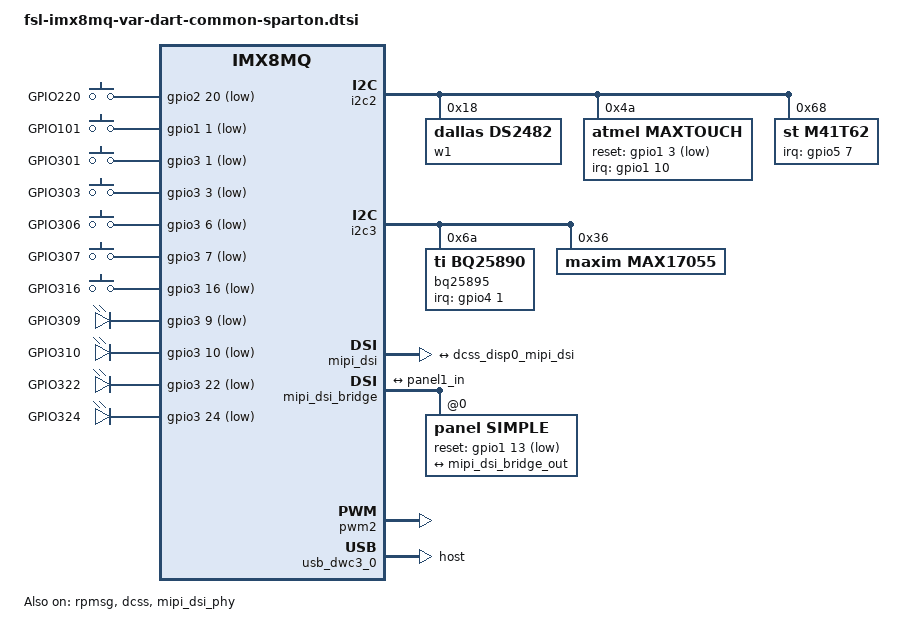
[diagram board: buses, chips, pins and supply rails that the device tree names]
/*
 * Copyright 2019 Sparton
 *
 * This program is free software; you can redistribute it and/or
 * modify it under the terms of the GNU General Public License
 * as published by the Free Software Foundation; either version 2
 * of the License, or (at your option) any later version.
 *
 * This program is distributed in the hope that it will be useful,
 * but WITHOUT ANY WARRANTY; without even the implied warranty of
 * MERCHANTABILITY or FITNESS FOR A PARTICULAR PURPOSE.  See the
 * GNU General Public License for more details.
 */

#include "dt-bindings/display/simple_panel_mipi_cmds.h"

#define DCS_Short_Write_NP(x)      DCS_S0P(x)
#define DCS_Long_Write_3P(x,y,z,a) DCS_L3P(x,y,z,a)
#define DCS_Short_Write_1P(x,y)    DCS_S1P(x,y)

/ {
	compatible = "variscite,imx8m-dart", "fsl,imx8mq";

	/delete-node/ leds;
	/delete-node/ gpio-keys;

	backlight: backlight {
		pwms = <&pwm2 0 1000000 0>;
		status = "okay";
	};

	gpio-keys {
		compatible = "gpio-keys";
		pinctrl-names = "default";
		pinctrl-0 = <&pinctrl_gpio_inputs>;

		GPIO220 {
			gpios = <&gpio2 20 GPIO_ACTIVE_LOW>;
			linux,code = <KEY_WAKEUP>;
		};

		GPIO101 {
			gpios = <&gpio1 1 GPIO_ACTIVE_LOW>;
			linux,code = <KEY_F1>;
		};

		GPIO301 {
			gpios = <&gpio3 1 GPIO_ACTIVE_LOW>;
			linux,code = <KEY_F2>;
		};

		GPIO303 {
			gpios = <&gpio3 3 GPIO_ACTIVE_LOW>;
			linux,code = <KEY_F3>;
		};

		GPIO306 {
			gpios = <&gpio3 6 GPIO_ACTIVE_LOW>;
			linux,code = <KEY_F4>;
		};

		GPIO307 {
			gpios = <&gpio3 7 GPIO_ACTIVE_LOW>;
			linux,code = <KEY_F5>;
		};



		GPIO316 {
			gpios = <&gpio3 16 GPIO_ACTIVE_LOW>;
			linux,code = <KEY_F7>;
		};
	};

	gpio-leds {
		compatible = "gpio-leds";
		pinctrl-names = "default";
		pinctrl-0 = <&pinctrl_gpio_outputs>;


		GPIO309 {
			gpios = <&gpio3 9 GPIO_ACTIVE_LOW>;
		};

		GPIO310 {
			gpios = <&gpio3 10 GPIO_ACTIVE_LOW>;
		};

		GPIO322 {
			gpios = <&gpio3 22 GPIO_ACTIVE_LOW>;
		};

		GPIO324 {
			gpios = <&gpio3 24 GPIO_ACTIVE_LOW>;
		};

	};


	reserved-memory {
		#address-cells = <2>;
		#size-cells = <2>;
		ranges;

//		m4_reserved_tcm: m4@7e0000 {
//			no-map;
//			reg = <0 0x7e0000 0 0x40000>;
//		};

		m4_reserved_data2: m4@0xBF000000 {
			no-map;
			reg = <0 0xBF000000 0 0x1000000>;
		};

	};


	mipi_cmds_nt35521z: mipi-cmds-nt35521z {
/*******************************************************************************
 * the following sequence has been extracted from UM-30165 datasheet
 * and slightly changed to use the defines available in
 * "dt-bindings/display/simple_panel_mipi_cmds.h"
 ******************************************************************************/
#if 1 // jhg
		mipi-cmds-init = /bits/ 8 <
			//========== Page 0 relative ==========
			DCS_Long_Write_3P(0xff,0x98,0x81,0x03)
			DCS_Short_Write_1P(0x01,0x00)
			DCS_Short_Write_1P(0x02,0x00)
			DCS_Short_Write_1P(0x03,0x72)
			DCS_Short_Write_1P(0x04,0x00)
			DCS_Short_Write_1P(0x05,0x00)
			DCS_Short_Write_1P(0x06,0x09)
			DCS_Short_Write_1P(0x07,0x00)
			DCS_Short_Write_1P(0x08,0x00)
			DCS_Short_Write_1P(0x09,0x01)
			DCS_Short_Write_1P(0x0a,0x00)
			DCS_Short_Write_1P(0x0b,0x00)
			DCS_Short_Write_1P(0x0c,0x01)
			DCS_Short_Write_1P(0x0d,0x00)
			DCS_Short_Write_1P(0x0e,0x00)
			DCS_Short_Write_1P(0x0f,0x00)
			DCS_Short_Write_1P(0x10,0x00)
			DCS_Short_Write_1P(0x11,0x00)
			DCS_Short_Write_1P(0x12,0x00)
			DCS_Short_Write_1P(0x13,0x00)
			DCS_Short_Write_1P(0x14,0x00)
			DCS_Short_Write_1P(0x15,0x00)
			DCS_Short_Write_1P(0x16,0x00)
			DCS_Short_Write_1P(0x17,0x00)
			DCS_Short_Write_1P(0x18,0x00)
			DCS_Short_Write_1P(0x19,0x00)
			DCS_Short_Write_1P(0x1a,0x00)
			DCS_Short_Write_1P(0x1b,0x00)
			DCS_Short_Write_1P(0x1c,0x00)
			DCS_Short_Write_1P(0x1d,0x00)
			DCS_Short_Write_1P(0x1e,0x40)
			DCS_Short_Write_1P(0x1f,0x80)
			DCS_Short_Write_1P(0x20,0x05)
			DCS_Short_Write_1P(0x21,0x02)
			DCS_Short_Write_1P(0x22,0x00)
			DCS_Short_Write_1P(0x23,0x00)
			DCS_Short_Write_1P(0x24,0x00)
			DCS_Short_Write_1P(0x25,0x00)

			DCS_Short_Write_1P(0x26,0x00)
			DCS_Short_Write_1P(0x27,0x00)
			DCS_Short_Write_1P(0x28,0x33)
			DCS_Short_Write_1P(0x29,0x02)
			DCS_Short_Write_1P(0x2a,0x00)
			DCS_Short_Write_1P(0x2b,0x00)
			DCS_Short_Write_1P(0x2c,0x00)
			DCS_Short_Write_1P(0x2d,0x00)
			DCS_Short_Write_1P(0x2e,0x00)
			DCS_Short_Write_1P(0x2f,0x00)

			DCS_Short_Write_1P(0x30,0x00)
			DCS_Short_Write_1P(0x31,0x00)
			DCS_Short_Write_1P(0x32,0x00)
			DCS_Short_Write_1P(0x33,0x00)
			DCS_Short_Write_1P(0x34,0x04)
			DCS_Short_Write_1P(0x35,0x00)
			DCS_Short_Write_1P(0x36,0x00)
			DCS_Short_Write_1P(0x37,0x00)
			DCS_Short_Write_1P(0x38,0x3c)
			DCS_Short_Write_1P(0x39,0x00)
			DCS_Short_Write_1P(0x3a,0x40)
			DCS_Short_Write_1P(0x3b,0x40)
			DCS_Short_Write_1P(0x3c,0x00)
			DCS_Short_Write_1P(0x3d,0x00)
			DCS_Short_Write_1P(0x3e,0x00)
			DCS_Short_Write_1P(0x3f,0x00)

			DCS_Short_Write_1P(0x40,0x00)
			DCS_Short_Write_1P(0x41,0x00)
			DCS_Short_Write_1P(0x42,0x00)
			DCS_Short_Write_1P(0x43,0x00)
			DCS_Short_Write_1P(0x44,0x00)

			DCS_Short_Write_1P(0x50,0x01)
			DCS_Short_Write_1P(0x51,0x23)
			DCS_Short_Write_1P(0x52,0x45)
			DCS_Short_Write_1P(0x53,0x67)
			DCS_Short_Write_1P(0x54,0x89)
			DCS_Short_Write_1P(0x55,0xab)
			DCS_Short_Write_1P(0x56,0x01)
			DCS_Short_Write_1P(0x57,0x23)
			DCS_Short_Write_1P(0x58,0x45)
			DCS_Short_Write_1P(0x59,0x67)
			DCS_Short_Write_1P(0x5a,0x89)
			DCS_Short_Write_1P(0x5b,0xab)
			DCS_Short_Write_1P(0x5c,0xcd)
			DCS_Short_Write_1P(0x5d,0xef)
			DCS_Short_Write_1P(0x5e,0x11)
			DCS_Short_Write_1P(0x5f,0x01)

			DCS_Short_Write_1P(0x60,0x00)
			DCS_Short_Write_1P(0x61,0x15)
			DCS_Short_Write_1P(0x62,0x14)
			DCS_Short_Write_1P(0x63,0x0e)
			DCS_Short_Write_1P(0x64,0x0f)
			DCS_Short_Write_1P(0x65,0x0c)
			DCS_Short_Write_1P(0x66,0x0d)
			DCS_Short_Write_1P(0x67,0x06)
			DCS_Short_Write_1P(0x68,0x02)
			DCS_Short_Write_1P(0x69,0x07)
			DCS_Short_Write_1P(0x6a,0x02)
			DCS_Short_Write_1P(0x6b,0x02)
			DCS_Short_Write_1P(0x6c,0x02)
			DCS_Short_Write_1P(0x6d,0x02)
			DCS_Short_Write_1P(0x6e,0x02)
			DCS_Short_Write_1P(0x6f,0x02)

			DCS_Short_Write_1P(0x70,0x02)
			DCS_Short_Write_1P(0x71,0x02)
			DCS_Short_Write_1P(0x72,0x02)
			DCS_Short_Write_1P(0x73,0x02)
			DCS_Short_Write_1P(0x74,0x02)
			DCS_Short_Write_1P(0x75,0x01)
			DCS_Short_Write_1P(0x76,0x00)
			DCS_Short_Write_1P(0x77,0x14)
			DCS_Short_Write_1P(0x78,0x15)
			DCS_Short_Write_1P(0x79,0x0e)
			DCS_Short_Write_1P(0x7a,0x0f)
			DCS_Short_Write_1P(0x7b,0x0c)
			DCS_Short_Write_1P(0x7c,0x0d)
			DCS_Short_Write_1P(0x7d,0x06)
			DCS_Short_Write_1P(0x7e,0x02)
			DCS_Short_Write_1P(0x7f,0x07)
			
			DCS_Short_Write_1P(0x80,0x02)
			DCS_Short_Write_1P(0x81,0x02)
			DCS_Short_Write_1P(0x82,0x02)
			DCS_Short_Write_1P(0x83,0x02)
			DCS_Short_Write_1P(0x84,0x02)

			DCS_Short_Write_1P(0x85,0x02)
			DCS_Short_Write_1P(0x86,0x02)
			DCS_Short_Write_1P(0x87,0x02)
			DCS_Short_Write_1P(0x88,0x02)
			DCS_Short_Write_1P(0x89,0x02)
			DCS_Short_Write_1P(0x8a,0x02)

			DCS_Long_Write_3P(0xff,0x98,0x81,0x04)
			DCS_Short_Write_1P(0x6c,0x15)
			DCS_Short_Write_1P(0x6e,0x2a)
			DCS_Short_Write_1P(0x6f,0x35)

			DCS_Short_Write_1P(0x3a,0x94)
			DCS_Short_Write_1P(0x8d,0x15)
			DCS_Short_Write_1P(0x87,0xba)
			DCS_Short_Write_1P(0x26,0x76)
			DCS_Short_Write_1P(0xb2,0xd1)
			DCS_Short_Write_1P(0xb5,0x06)

			DCS_Long_Write_3P(0xff,0x98,0x81,0x01)
			DCS_Short_Write_1P(0x22,0x0a)
			DCS_Short_Write_1P(0x31,0x00)
			DCS_Short_Write_1P(0x53,0xa5)
			DCS_Short_Write_1P(0x55,0xa5)
			DCS_Short_Write_1P(0x50,0x9a)
			DCS_Short_Write_1P(0x51,0x9a)
			DCS_Short_Write_1P(0x60,0x22)
			DCS_Short_Write_1P(0x61,0x00)
			DCS_Short_Write_1P(0x62,0x19)
			DCS_Short_Write_1P(0x63,0x10)

			DCS_Short_Write_1P(0xa0,0x08)
			DCS_Short_Write_1P(0xa1,0x18)
			DCS_Short_Write_1P(0xa2,0x1f)
			DCS_Short_Write_1P(0xa3,0x0f)
			DCS_Short_Write_1P(0xa4,0x14)
			DCS_Short_Write_1P(0xa5,0x24)
			DCS_Short_Write_1P(0xa6,0x1b)
			DCS_Short_Write_1P(0xa7,0x1b)
			DCS_Short_Write_1P(0xa8,0x5a)
			DCS_Short_Write_1P(0xa9,0x1c)
			DCS_Short_Write_1P(0xaa,0x29)
			DCS_Short_Write_1P(0xab,0x4e)
			DCS_Short_Write_1P(0xac,0x19)
			DCS_Short_Write_1P(0xad,0x16)
			DCS_Short_Write_1P(0xae,0x4c)
			DCS_Short_Write_1P(0xaf,0x21)

			DCS_Short_Write_1P(0xb0,0x2a)
			DCS_Short_Write_1P(0xb1,0x48)
			DCS_Short_Write_1P(0xb2,0x62)
			DCS_Short_Write_1P(0xb3,0x39)
			
			DCS_Short_Write_1P(0xc0,0x08)
			DCS_Short_Write_1P(0xc1,0x0d)
			DCS_Short_Write_1P(0xc2,0x18)
			DCS_Short_Write_1P(0xc3,0x10)
			DCS_Short_Write_1P(0xc4,0x0c)
			DCS_Short_Write_1P(0xc5,0x1d)
			DCS_Short_Write_1P(0xc6,0x10)
			DCS_Short_Write_1P(0xc7,0x16)
			DCS_Short_Write_1P(0xc8,0x61)
			DCS_Short_Write_1P(0xc9,0x1b)
			DCS_Short_Write_1P(0xca,0x27)
			DCS_Short_Write_1P(0xcb,0x5e)
			DCS_Short_Write_1P(0xcc,0x1c)
			DCS_Short_Write_1P(0xcd,0x1b)
			DCS_Short_Write_1P(0xce,0x4e)
			DCS_Short_Write_1P(0xcf,0x22)

			DCS_Short_Write_1P(0xd0,0x27)
			DCS_Short_Write_1P(0xd1,0x52)
			DCS_Short_Write_1P(0xd2,0x61)
			DCS_Short_Write_1P(0xd3,0x39)

			DCS_Long_Write_3P(0xff,0x98,0x81,0x00)
			DCS_Short_Write_1P(0x35,0x00)


		>;
#endif
		mipi-cmds-disable = /bits/ 8 <
			DCS_L5P(0xF0,0x55,0xAA,0x52,0x00,0x00)
			DCS_S1P(0x35,0x00)
		>;
		mipi-cmds-enable = /bits/ 8 <
#undef NT35521Z_SELF_TEST
#ifdef NT35521Z_SELF_TEST
			DCS_L5P(0xF0,0x55,0xAA,0x52,0x08,0x00)
			2 0xEF 0x01
			DCS_L4P(0xEE,0x87,0x78,0x02,0x40)
			// QS Reference:
			// DCS_Long_Write_5P (0xF0,0x55,0xAA,0x52,0x08,0x00);
			// DCS_Short_Write_1P(0xEF,0x01);
			// DCS_Long_Write_4P (0xEE,0x87,0x78,0x02,0x40);
#else /* NT35521Z_SELF_TEST */
			DCS_Short_Write_NP(0x11)
			DELAY (120)
			DCS_Short_Write_NP(0x29)
#endif /* NT35521Z_SELF_TEST */
		>;
	};
};

&ecspi1 {
	status = "disabled"; 	/* MOSI pin conflict with RTC irq */
};

&iomuxc {
	pinctrl-names = "default";

	imx8m-var-dart {
		pinctrl_bq25895: bq25895grp {
			fsl,pins = <
				MX8MQ_IOMUXC_SAI1_RXFS_GPIO4_IO0	0x19	/* charger enable */
				MX8MQ_IOMUXC_SAI1_RXC_GPIO4_IO1		0x19	/* charger interrupt */
			>;
		};

		pinctrl_gpio_inputs: gpioinputsgrp {
			fsl,pins = <
				MX8MQ_IOMUXC_SD2_WP_GPIO2_IO20		0x19	/* GPIO220 */
				MX8MQ_IOMUXC_GPIO1_IO01_GPIO1_IO1	0x19	/* GPIO101 */
				MX8MQ_IOMUXC_NAND_CE0_B_GPIO3_IO1	0x19	/* GPIO301 */
				MX8MQ_IOMUXC_NAND_CE2_B_GPIO3_IO3	0x19	/* GPIO303 */
				MX8MQ_IOMUXC_NAND_DATA00_GPIO3_IO6	0x19	/* GPIO306 */
				MX8MQ_IOMUXC_NAND_DATA01_GPIO3_IO7	0x19	/* GPIO307 */
				MX8MQ_IOMUXC_NAND_DATA02_GPIO3_IO8	0x19	/* GPIO308 */
				MX8MQ_IOMUXC_NAND_READY_B_GPIO3_IO16	0x19	/* GPIO316 */
			>;
		};

		pinctrl_gpio_outputs: gpiooutputsgrp {
			fsl,pins = <
				MX8MQ_IOMUXC_NAND_DATA03_GPIO3_IO9	0x19	/* GPIO309 */
				MX8MQ_IOMUXC_NAND_DATA04_GPIO3_IO10	0x19	/* GPIO310 */
				MX8MQ_IOMUXC_NAND_DQS_GPIO3_IO14	0x19	/* GPIO314 */
				MX8MQ_IOMUXC_NAND_RE_B_GPIO3_IO15	0x19	/* GPIO315 */
				MX8MQ_IOMUXC_SAI5_RXD1_GPIO3_IO22	0x19	/* GPIO322 */
				MX8MQ_IOMUXC_SAI5_RXD3_GPIO3_IO24	0x19	/* GPIO324 */
				MX8MQ_IOMUXC_SAI5_MCLK_GPIO3_IO25	0x19	/* GPIO325 */
				MX8MQ_IOMUXC_UART4_RXD_GPIO5_IO28	0x19	/* USB1_TRIGn */
				MX8MQ_IOMUXC_UART4_TXD_GPIO5_IO29	0x19	/* USB1_PWREN */
			>;
		};

		pinctrl_lcd: lcdgrp {
			fsl,pins = <
				MX8MQ_IOMUXC_GPIO1_IO13_GPIO1_IO13	0x19	/* display reset */
			>;
		};

		pinctrl_ltc3370: ltc3370grp {
			fsl,pins = <
				MX8MQ_IOMUXC_NAND_WE_B_GPIO3_IO17	0x19	/* PMIC_EN3 */
				MX8MQ_IOMUXC_NAND_WP_B_GPIO3_IO18	0x19	/* PMIC_EN2 */
				MX8MQ_IOMUXC_SAI5_RXFS_GPIO3_IO19	0x19	/* PMIC_EN4 */
				MX8MQ_IOMUXC_SAI5_RXC_GPIO3_IO20	0x19	/* PMIC_EN4 */
			>;
		};

		pinctrl_m41t62: m41t62grp {
			fsl,pins = <
				MX8MQ_IOMUXC_ECSPI1_MOSI_GPIO5_IO7	0x19	/* rtc interrupt */
			>;
		};

		pinctrl_maxtouch: maxtouchgrp {
			fsl,pins = <
				MX8MQ_IOMUXC_GPIO1_IO03_GPIO1_IO3	0x19	/* cap touch reset */
				MX8MQ_IOMUXC_GPIO1_IO10_GPIO1_IO10	0x19	/* cap touch interrupt */
			>;
		};

		pinctrl_pwm2: pwm2grp {
			fsl,pins = <
				MX8MQ_IOMUXC_SPDIF_RX_PWM2_OUT		0x06	/* pwm2 output */
			>;
		};
	};
};

&i2c2 {
	/delete-node/ rtc@0x68;		/* address conflict with m41t62 */

      	w1: ds2482@18 {
                compatible = "dallas,ds2482";
                reg = <0x18>;
		status = "okay";
        };

	maxtouch: maxtouch@4a {
		compatible = "atmel,maxtouch";
		pinctrl-names = "default";
		pinctrl-0 = <&pinctrl_maxtouch>;
		interrupt-parent = <&gpio1>;
		interrupts = <10 GPIO_ACTIVE_LOW>;
		reset-gpios = <&gpio1 3 GPIO_ACTIVE_LOW>;
		reg = <0x4a>;
		status = "okay";
	};

// Control with /dev/i2c as the driver doesn't support reg settings 
/*	vcnl4200_2: vcnl4200_2@51 {
		compatible = "vishay,vcnl4200";
		reg = <0x51>;
		status = "okay";
	};
*/
	m41t62: m41t62@68 {
		compatible = "st,m41t62";
		pinctrl-names = "default";
		pinctrl-0 = <&pinctrl_m41t62>;
		interrupt-parent = <&gpio5>;
		interrupts = <7 GPIO_ACTIVE_LOW>;
		reg = <0x68>;
		status = "okay";
	};
};

&i2c3 {
// Control with /dev/i2c as the driver doesn't support reg settings 
/*	vcnl4200_3: vcnl4200_3@51 {
		compatible = "vishay,vcnl4200";
		reg = <0x51>;
		status = "okay";
	};
*/
	bq25895: bq25895@6a {
		compatible = "ti,bq25890";
		pinctrl-names = "default";
		pinctrl-0 = <&pinctrl_bq25895>;
		interrupt-parent = <&gpio4>;
		interrupts = <1 GPIO_ACTIVE_LOW>;
		reg = <0x6a>;
		status = "okay";
		ti,battery-regulation-voltage = <4160000>;
		ti,charge-current = <3584000>;
		ti,termination-current = <64000>;
		ti,precharge-current = <128000>;
		ti,minimum-sys-voltage = <3000000>;
		ti,boost-voltage = <5000000>;
		ti,boost-max-current = <1000000>;
		ti,use-ilim-pin;
		ti,thermal-regulation-threshold = <120>;
	};

	max17055: battery-charger@36 {
		compatible = "maxim,max17055";
		reg = <0x36>;
		status = "okay";
		maxim,rsns-microohm = <10000>;

		// todo verify these values
		maxim,over-heat-temp = <600>;
		maxim,over-volt = <4300>;
	};
};

&i2c4 {
	status = "disabled";  /* Reserve for M4 */

	/delete-node/ ov5640_mipi2@0x3c;
};

&uart2 {
	status = "disabled";  /* Reserve for M4 */
};

&rpmsg{
	/*
	 * 64K for one rpmsg instance:
	 * --0x40000000~0x4000ffff: pingpong
	 */
	vdev-nums = <1>;
//djk	reg = <0x0 0x40000000 0x0 0x10000>;
	reg = <0x0 0xb8000000 0x0 0x10000>;
	status = "okay";
};

&pwm3 {
	status = "disabled";
};

&wdog3 {
	status = "disabled";
};

&hdmi {
	status = "disabled";
};

&dcss {
//	status = "disabled";
	status = "okay";
	disp-dev = "mipi_disp";

	clocks = <&clk IMX8MQ_CLK_DISP_APB_ROOT>,
		 <&clk IMX8MQ_CLK_DISP_AXI_ROOT>,
		 <&clk IMX8MQ_CLK_DISP_RTRM_ROOT>,
		 <&clk IMX8MQ_CLK_DC_PIXEL>,
		 <&clk IMX8MQ_CLK_DISP_DTRC>,
		 <&clk IMX8MQ_VIDEO_PLL1>,
		 <&clk IMX8MQ_CLK_27M>,
		 <&clk IMX8MQ_CLK_25M>;
	clock-names = "apb", "axi", "rtrm", "pix", "dtrc",
		      "pll", "pll_src1", "pll_src2";

	assigned-clocks = <&clk IMX8MQ_CLK_DC_PIXEL>,
			  <&clk IMX8MQ_CLK_DISP_AXI>,
			  <&clk IMX8MQ_CLK_DISP_RTRM>,
			  <&clk IMX8MQ_VIDEO_PLL1_REF_SEL>,
			  <&clk IMX8MQ_VIDEO_PLL1>;
	assigned-clock-parents = <&clk IMX8MQ_VIDEO_PLL1_OUT>,
				 <&clk IMX8MQ_SYS1_PLL_800M>,
				 <&clk IMX8MQ_SYS1_PLL_800M>,
				 <&clk IMX8MQ_CLK_27M>;
	assigned-clock-rates = <594000000>,
			       <800000000>,
			       <400000000>,
			       <0>,
			       <594000000>;

	dcss_disp0: port@0 {
		reg = <0>;

		dcss_disp0_mipi_dsi: mipi_dsi {
			remote-endpoint = <&mipi_dsi_in>;
		};
	};
};

&mipi_dsi_phy {
	status = "okay";

	// jhg: TODO test without these
	clock-names = "phy_ref";
	clocks = <&clk IMX8MQ_CLK_DSI_PHY_REF>;
};

&mipi_dsi {
	status = "okay";

	// jhg: TODO test without these
	assigned-clocks = <&clk IMX8MQ_CLK_DSI_PHY_REF>,
			  <&clk IMX8MQ_CLK_DSI_CORE>;
	assigned-clock-parents = <&clk IMX8MQ_VIDEO_PLL1_OUT>,
				 <&clk IMX8MQ_SYS1_PLL_266M>;
	assigned-clock-rates = <27000000>,
			       <266000000>;

	port@1 {
		mipi_dsi_in: endpoint {
			remote-endpoint = <&dcss_disp0_mipi_dsi>;
		};
	};

};

&mipi_dsi_bridge {
	status = "okay";

	panel@0 {
		compatible = "panel,simple";
		reg = <0>;
		pinctrl-0 = <&pinctrl_lcd>;
		reset-gpio = <&gpio1 13 GPIO_ACTIVE_LOW>;
		bus-format = "rgb888";
		dsi-format = "rgb888";
		dsi-lanes = <4>;
		delay-unprepare = <10>;
		delay-prepare = <150>;
		delay-enable = <150>;
		delay-disable = <150>;
		mipi-cmds = <&mipi_cmds_nt35521z>;
		/*bridge-de-active = <1>;*/
		/*bridge-sync-active = <1>;*/
		mode-clock-non-contiguous; // jhg: try continous clock mode
		/*mode-skip-eot;*/
		mode-video;
		/*mode-video-burst;*/ // jhg: non-burst with sync pulse
		/*mode-video-hse;*/
		mode-video-sync-pulse; // jhg: non-burst with sync pulse
		/*mode-video-hfp-disable;*/
		/*mode-video-hbp-disable;*/
		/*mode-video-hsa-disable;*/
		panel-width-mm = <62>;
		panel-height-mm = <110>;
		bridge-de-active = <0>;
		bridge-sync-active = <0>;
		bits-per-pixel = <24>;
		bits-per-color = <8>;

		display-timings {
			timing {
				clock-frequency = <75000000>;
				hactive = <720>;
				vactive = <1280>;
				hfront-porch = <85>;
				hback-porch = <75>;
				hsync-len = <10>;
				hsync-active = <0>;
				vfront-porch = <16>;
				vback-porch = <16>;
				vsync-len = <6>;
				vsync-active = <0>;
				de-active = <0>;
				pixelclk-active = <0>;
			};
		};

		port {
			panel1_in: endpoint {
				remote-endpoint = <&mipi_dsi_bridge_out>;
			};
		};
	};

	/* port@0 is the input to the bridge, and port@1 is the bridge output */

	port@1 {
		mipi_dsi_bridge_out: endpoint {
			remote-endpoint = <&panel1_in>;
		};
	};
};

&ov5640_mipi1 {
	status = "disabled"; 	/* reset pin conflict with USB1_TRIGn */
};

&pcie0 {
	status = "disabled"; 	/* not mounted */
};

&pwm2 {
	pinctrl-names = "default";
	pinctrl-0 = <&pinctrl_pwm2>;
	status = "okay";
};

&typec_ptn5150 {
	status = "disabled";	/* connect pin conflict with maxtouch irq */
};

&usb_dwc3_0 {
	extcon = <>;	/* no typec@3d */
	dr_mode = "host";
};

&mipi_csi_1 {
	status = "disabled";
};

&mipi_csi_2 {
	status = "disabled";
};

&csi1_bridge {
	status = "disabled";
};

&csi2_bridge {
	status = "disabled";
};

&sai3 {
	status = "disabled";
};

&usb3_1 {
	status = "disabled";
};

&usb_dwc3_1 {
	status = "disabled";
};

